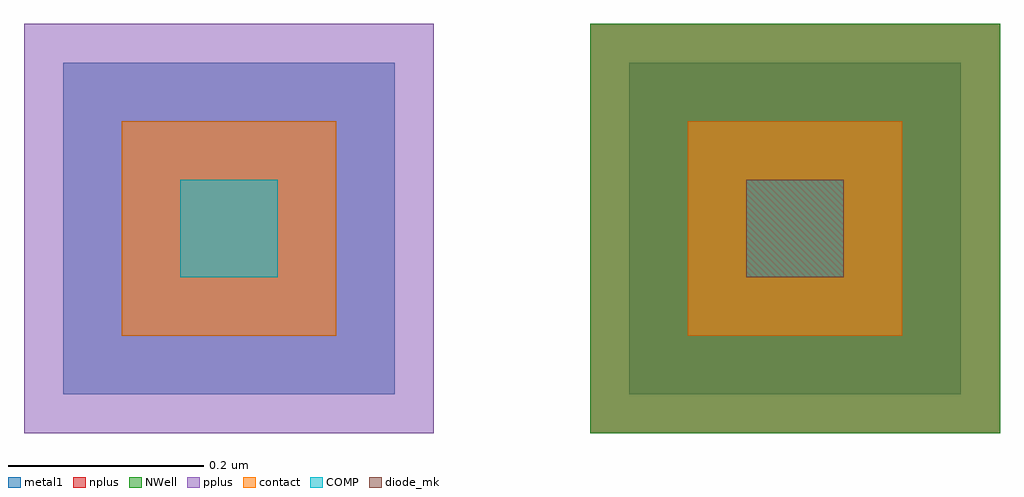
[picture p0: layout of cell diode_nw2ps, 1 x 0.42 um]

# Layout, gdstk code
import gdstk
lib = gdstk.Library(unit=1e-6, precision=1e-09)
def R(c, l, rs):  # rectangles x0, y0, x1, y1
    for r in rs: c.add(gdstk.rectangle(r[:2], r[2:], *l))
NWell = (21, 0)
COMP = (22, 0)
pplus = (31, 0)
nplus = (32, 0)
contact = (33, 0)
metal1 = (34, 0)
diode_mk = (115, 5)

compass_5c90cb24 = lib.new_cell('compass_5c90cb24')
R(compass_5c90cb24, COMP, [(-0.05,-0.05,0.05,0.05)])

rectangle_5c90cb24 = lib.new_cell('rectangle_5c90cb24')
rectangle_5c90cb24.add(gdstk.Reference(compass_5c90cb24, (0.05,0.05)))

compass_ba8ddf18 = lib.new_cell('compass_ba8ddf18')
R(compass_ba8ddf18, nplus, [(-0.21,-0.21,0.21,0.21)])

rectangle_ba8ddf18 = lib.new_cell('rectangle_ba8ddf18')
rectangle_ba8ddf18.add(gdstk.Reference(compass_ba8ddf18, (0.21,0.21)))

compass_cacfdad8 = lib.new_cell('compass_cacfdad8')
R(compass_cacfdad8, diode_mk, [(-0.05,-0.05,0.05,0.05)])

rectangle_cacfdad8 = lib.new_cell('rectangle_cacfdad8')
rectangle_cacfdad8.add(gdstk.Reference(compass_cacfdad8, (0.05,0.05)))

compass_573b7b85 = lib.new_cell('compass_573b7b85')
R(compass_573b7b85, NWell, [(-0.21,-0.21,0.21,0.21)])

rectangle_573b7b85 = lib.new_cell('rectangle_573b7b85')
rectangle_573b7b85.add(gdstk.Reference(compass_573b7b85, (0.21,0.21)))

compass_f38dc993 = lib.new_cell('compass_f38dc993')
R(compass_f38dc993, contact, [(-0.11,-0.11,0.11,0.11)])

rectangle_f38dc993 = lib.new_cell('rectangle_f38dc993')
rectangle_f38dc993.add(gdstk.Reference(compass_f38dc993, (0.11,0.11)))

via_generator_fb634f5e = lib.new_cell('via_generator_fb634f5e')
r = gdstk.Reference(rectangle_f38dc993, (-0.06,-0.06)); r.repetition = gdstk.Repetition(1, 1, v1=(0.5,0), v2=(0,0.5)); via_generator_fb634f5e.add(r)

compass_02b66c81 = lib.new_cell('compass_02b66c81')
R(compass_02b66c81, metal1, [(-0.17,-0.17,0.17,0.17)])

rectangle_02b66c81 = lib.new_cell('rectangle_02b66c81')
rectangle_02b66c81.add(gdstk.Reference(compass_02b66c81, (0.17,0.17)))

via_stack_e72d222e = lib.new_cell('via_stack_e72d222e')
via_stack_e72d222e.add(gdstk.Reference(via_generator_fb634f5e, (0,0)))
via_stack_e72d222e.add(gdstk.Reference(rectangle_02b66c81, (-0.12,-0.12)))

compass_59d4bd7e = lib.new_cell('compass_59d4bd7e')
R(compass_59d4bd7e, pplus, [(-0.21,-0.21,0.21,0.21)])

rectangle_59d4bd7e = lib.new_cell('rectangle_59d4bd7e')
rectangle_59d4bd7e.add(gdstk.Reference(compass_59d4bd7e, (0.21,0.21)))

via_generator_9f1fa7ac = lib.new_cell('via_generator_9f1fa7ac')
r = gdstk.Reference(rectangle_f38dc993, (-0.64,-0.06)); r.repetition = gdstk.Repetition(1, 1, v1=(0.5,0), v2=(0,0.5)); via_generator_9f1fa7ac.add(r)

compass_8b7beeb3 = lib.new_cell('compass_8b7beeb3')
R(compass_8b7beeb3, metal1, [(-0.17,-0.17,0.17,0.17)])

rectangle_8b7beeb3 = lib.new_cell('rectangle_8b7beeb3')
rectangle_8b7beeb3.add(gdstk.Reference(compass_8b7beeb3, (0.17,0.17)))

via_stack_0f6901ba = lib.new_cell('via_stack_0f6901ba')
via_stack_0f6901ba.add(gdstk.Reference(via_generator_9f1fa7ac, (0,0)))
via_stack_0f6901ba.add(gdstk.Reference(rectangle_8b7beeb3, (-0.7,-0.12)))

diode_nw2ps = lib.new_cell('diode_nw2ps')
diode_nw2ps.add(gdstk.Reference(rectangle_5c90cb24, (0,0)))
diode_nw2ps.add(gdstk.Reference(rectangle_ba8ddf18, (-0.16,-0.16)))
diode_nw2ps.add(gdstk.Reference(rectangle_cacfdad8, (0,0)))
diode_nw2ps.add(gdstk.Reference(rectangle_573b7b85, (-0.16,-0.16)))
diode_nw2ps.add(gdstk.Reference(via_stack_e72d222e, (0,0)))
diode_nw2ps.add(gdstk.Reference(rectangle_5c90cb24, (-0.58,0)))
diode_nw2ps.add(gdstk.Reference(rectangle_59d4bd7e, (-0.74,-0.16)))
diode_nw2ps.add(gdstk.Reference(via_stack_0f6901ba, (0,0)))

lib.write_gds('diode_nw2ps.gds')
